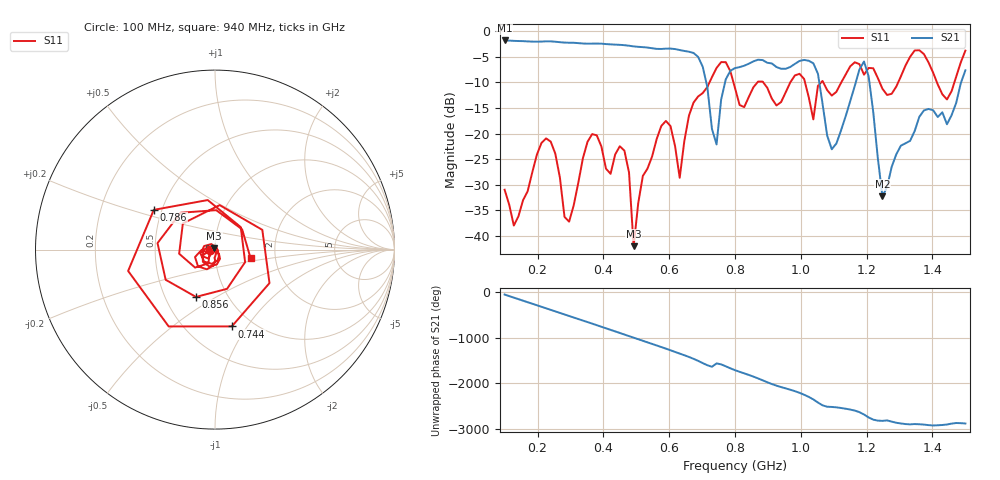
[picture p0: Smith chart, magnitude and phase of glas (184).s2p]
! NanoVNA-App
! Date: 2025-09-25 15:56:54
! Start: 100MHz Stop: 1,5GHz Points: 101
! S-Parameter data: F S11 S21 S12 S22
# Hz S RI R 50
!  Frequency  S11_Real  S11_Imag  S21_Real  S21_Imag  S12_Real  S12_Imag  S22_Real  S22_Imag
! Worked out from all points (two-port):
!   101 points, 100 MHz to 1.5 GHz, reference 50 ohm
!   highest |S21| = -1.80 dB at 100 MHz (marker M1); lowest = -32.2 dB at 1.248 GHz (marker M2)
!   |S21| within 3 dB of the highest: start of sweep to 684.2 MHz
!   lowest |S11| = -42.0 dB at 492 MHz (marker M3), VSWR 1.02, Z = 49.5 + j0.613 ohm
!   |S11| at or under -10 dB: start of sweep to 722.4 MHz; 795.3 MHz to 867.9 MHz (72.56 MHz wide, 8.73 % of centre); 885.9 MHz to 967.9 MHz (81.98 MHz wide, 8.84 % of centre) (the widest 3 of 7)
!   S12 and S22 are empty: the file has one direction only
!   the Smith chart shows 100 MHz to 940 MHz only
!   S11 on the Smith chart (normalised r, x): 100 MHz: 0.95, -0.01; 744 MHz: 0.80, -0.85; 786 MHz: 0.45, +0.24; 856 MHz: 0.71, -0.41; 940 MHz: 1.49, -0.14
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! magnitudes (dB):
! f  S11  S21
! 100 MHz  -31.0  -1.8
! 128 MHz  -37.9  -1.9
! 226 MHz  -20.9  -2.0
! 296 MHz  -37.2  -2.2
! 338 MHz  -24.8  -2.4
! 464 MHz  -23.3  -2.7
! 492 MHz  -42.0  -3.0
! 576 MHz  -18.5  -3.5
! 632 MHz  -28.6  -3.7
! 702 MHz  -12.1  -7.0
! 744 MHz  -7.2  -22.1
! 786 MHz  -7.8  -7.7
! 800 MHz  -11.1  -7.2
! 856 MHz  -10.9  -5.9
! 940 MHz  -13.8  -7.3
! 996 MHz  -8.3  -5.8
! 1.038 GHz  -17.2  -6.3
! 1.094 GHz  -12.6  -23.0
! 1.192 GHz  -8.5  -5.9
! 1.248 GHz  -11.2  -32.2
! 1.276 GHz  -12.2  -26.5
! 1.5 GHz  -3.8  -7.6
